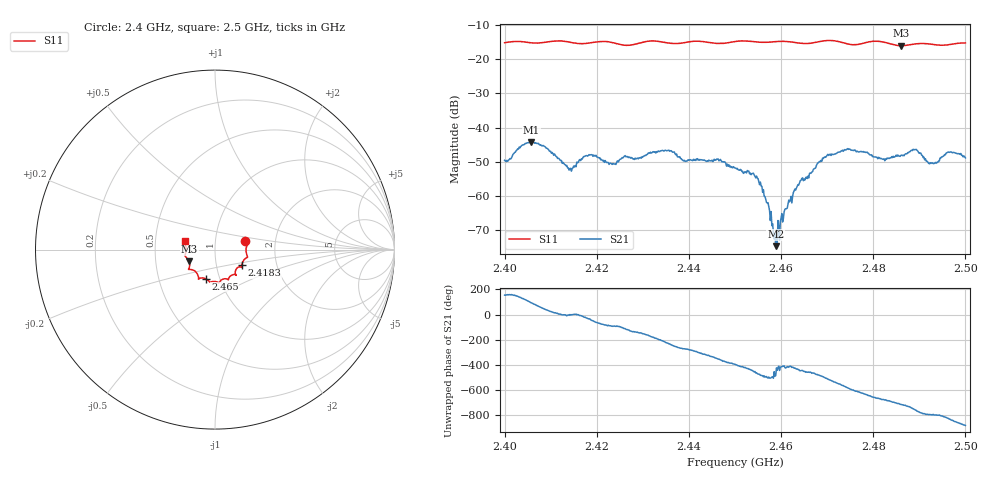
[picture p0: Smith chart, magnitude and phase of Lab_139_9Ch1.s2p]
# Hz S RI R 50
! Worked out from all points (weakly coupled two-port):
!   601 points, 2.4 GHz to 2.5 GHz, reference 50 ohm
!   highest |S21| = -44.17 dB at 2.4058 GHz (marker M1); lowest = -74.7 dB at 2.4588 GHz (marker M2)
!   lowest |S11| = -16.0 dB at 2.486 GHz (marker M3), VSWR 1.38, Z = 37.1 - j4.97 ohm
!   |S11| at or under -10 dB: start of sweep to end of sweep
!   S12 and S22 are empty: the file has one direction only
!   S11 on the Smith chart (normalised r, x): 2.4 GHz: 1.40, +0.13; 2.4183 GHz: 1.33, -0.24; 2.465 GHz: 0.86, -0.29; 2.5 GHz: 0.71, +0.07
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2.4e9  0.1689 0.0459  -0.00302 0.00139  0 0  0 0
2.405833e9  0.1739 0.0107  -0.000301 0.00618  0 0  0 0
2.414167e9  0.1714 -0.0477  0.00252 1.58e-05  0 0  0 0
2.416667e9  0.1552 -0.0683  0.00343 -0.000625  0 0  0 0
2.418333e9  0.1499 -0.0868  0.00335 -0.00223  0 0  0 0
2.423667e9  0.1449 -0.0969  -7.27e-05 -0.00295  0 0  0 0
2.433333e9  0.1167 -0.1412  -0.0044 0.0012  0 0  0 0
2.45e9  0.0253 -0.1804  0.00208 -0.0015  0 0  0 0
2.455167e9  0.00612 -0.1785  -0.000672 -0.00147  0 0  0 0
2.457e9  -0.01 -0.1775  -0.000627 -0.000484  0 0  0 0
2.458833e9  -0.0231 -0.1801  -0.00011 -0.000148  0 0  0 0
2.463167e9  -0.0372 -0.1716  0.000413 -0.00115  0 0  0 0
2.465e9  -0.0527 -0.1621  -9.24e-05 -0.00176  0 0  0 0
2.466667e9  -0.0713 -0.1577  -0.000661 -0.00214  0 0  0 0
2.469667e9  -0.0914 -0.1638  -0.00305 -0.00206  0 0  0 0
2.474333e9  -0.0973 -0.138  -0.00367 0.0032  0 0  0 0
2.483333e9  -0.1421 -0.0961  0.00301 0.00192  0 0  0 0
2.486e9  -0.144 -0.0652  0.00391 0.000331  0 0  0 0
2.489167e9  -0.1633 -0.0399  0.00362 -0.00313  0 0  0 0
2.492667e9  -0.1649 -0.0223  0.000627 -0.00297  0 0  0 0
2.496333e9  -0.1625 0.0202  -0.00132 -0.0042  0 0  0 0
2.5e9  -0.167 0.0472  -0.00345 -0.00106  0 0  0 0
